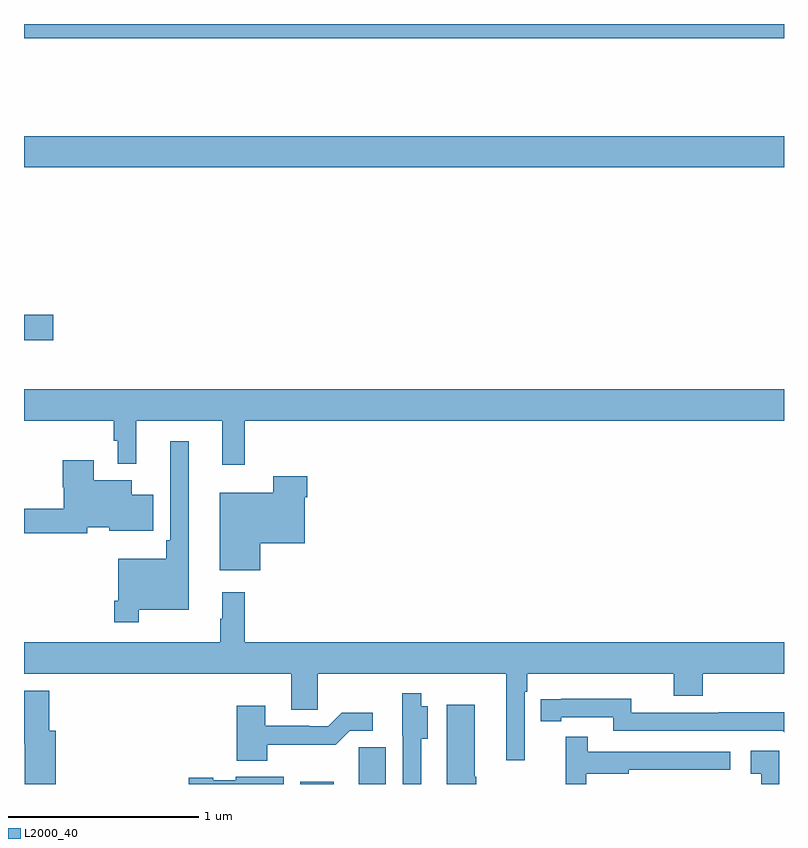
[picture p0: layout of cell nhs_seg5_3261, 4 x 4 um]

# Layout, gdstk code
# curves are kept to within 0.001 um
import gdstk
lib = gdstk.Library(unit=1e-6, precision=1e-09)
def R(c, l, rs):  # rectangles x0, y0, x1, y1
    for r in rs: c.add(gdstk.rectangle(r[:2], r[2:], *l))
def P(c, l, *ps):  # polygons
    for p in ps: c.add(gdstk.Polygon(p, *l))
L2000_40 = (2000, 40)

nhs_seg5_3261 = lib.new_cell('nhs_seg5_3261')
R(nhs_seg5_3261, L2000_40, [(300.453,902.799,300.631,902.812), (299,905.135,299.155,905.27), (299,906.044,303,906.208), (299,906.724,303,906.799)])
P(nhs_seg5_3261, L2000_40, [(300.161,904.712),(303,904.712),(303,904.876),(299,904.876),(299,904.712),(299.473,904.712),(299.473,904.605),(299.493,904.605),(299.493,904.484),(299.591,904.484),(299.591,904.712),(300.044,904.712),(300.044,904.479),(300.161,904.479)],
  [(299.605,903.716),(299.866,903.716),(299.866,904.603),(299.769,904.603),(299.769,904.081),(299.749,904.081),(299.749,903.985),(299.496,903.985),(299.496,903.763),(299.476,903.763),(299.476,903.651),(299.605,903.651)],
  [(299.334,904.151),(299.448,904.151),(299.448,904.133),(299.68,904.133),(299.68,904.321),(299.566,904.321),(299.566,904.399),(299.368,904.399),(299.368,904.504),(299.203,904.504),(299.203,904.362),(299.21,904.362),(299.21,904.249),(299,904.249),(299,904.12),(299.334,904.12)],
  [(300.244,904.067),(300.478,904.067),(300.478,904.307),(300.491,904.307),(300.491,904.42),(300.313,904.42),(300.313,904.333),(300.029,904.333),(300.029,903.923),(300.244,903.923)],
  [(301.635,903.284),(301.649,903.284),(301.649,903.38),(302.42,903.38),(302.42,903.263),(302.573,903.263),(302.573,903.38),(303,903.38),(303,903.544),(300.161,903.544),(300.161,903.808),(300.044,903.808),(300.044,903.668),(300.033,903.668),(300.033,903.544),(299,903.544),(299,903.38),(300.407,903.38),(300.407,903.19),(300.546,903.19),(300.546,903.38),(301.538,903.38),(301.538,902.925),(301.635,902.925)],
  [(299.167,903.079),(299.134,903.079),(299.134,903.289),(299,903.289),(299,903.009),(299.004,903.009),(299.004,902.799),(299.167,902.799)],
  [(301.09,903.038),(301.126,903.038),(301.126,903.208),(301.09,903.208),(301.09,903.277),(300.992,903.277),(300.992,903.054),(300.993,903.054),(300.993,902.799),(301.09,902.799)],
  [(303,903.176),(302.656,903.176),(302.656,903.174),(302.196,903.174),(302.196,903.247),(301.72,903.246),(301.72,903.13),(301.828,903.13),(301.828,903.15),(302.1,903.15),(302.1,903.078),(302.994,903.078),(303,903.072)],
  [(301.38,902.837),(301.372,902.837),(301.372,903.217),(301.226,903.217),(301.226,902.799),(301.38,902.799)],
  [(300.279,903.006),(300.641,903.005),(300.714,903.078),(300.835,903.078),(300.835,903.175),(300.673,903.175),(300.6,903.102),(300.5,903.102),(300.5,903.105),(300.271,903.105),(300.271,903.211),(300.119,903.211),(300.119,902.921),(300.279,902.921)],
  [(301.96,902.854),(302.183,902.854),(302.183,902.874),(302.716,902.874),(302.716,902.97),(301.967,902.97),(301.967,903.049),(301.85,903.049),(301.85,902.799),(301.96,902.799)],
  [(300.904,902.993),(300.762,902.993),(300.762,902.882),(300.761,902.882),(300.761,902.799),(300.904,902.799)],
  [(302.976,902.974),(302.826,902.974),(302.826,902.853),(302.879,902.853),(302.879,902.799),(302.976,902.799)],
  [(300.368,902.836),(300.114,902.836),(300.114,902.818),(299.997,902.818),(299.997,902.831),(299.868,902.831),(299.868,902.799),(300.368,902.799)])

lib.write_gds('nhs_seg5_3261.gds')
